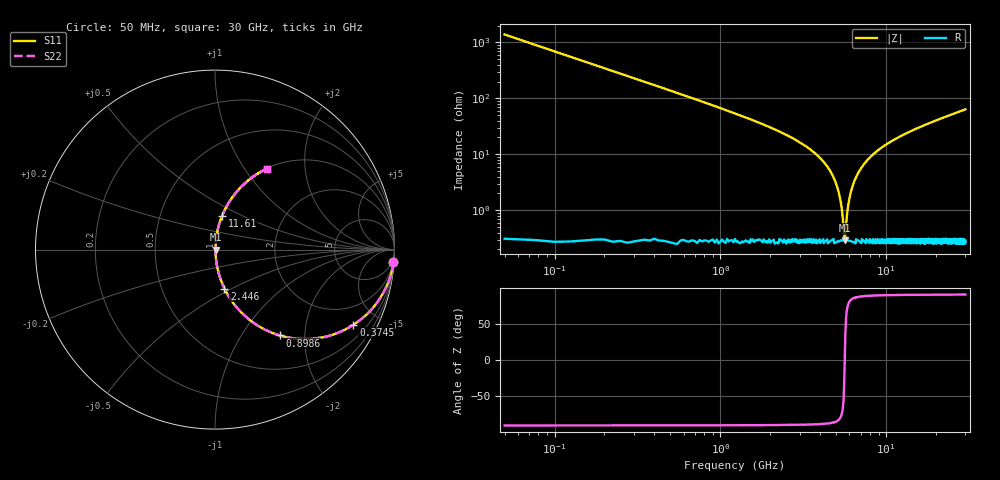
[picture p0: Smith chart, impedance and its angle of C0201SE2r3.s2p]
!	AVX Thin Film Operation 	Date: April 2014
!	Description: Accu-P® Series, Thin Film  SMD RF Capacitor
!	Part Number: 02013J2R3QBSTR
# MHZ S MA R 50
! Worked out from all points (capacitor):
!   1201 points, 50 MHz to 30 GHz, reference 50 ohm
!   read as one part in series: C = 2.3 pF near 199.8 MHz
!   lowest |Z| = 291 mohm at 5.616 GHz (marker M1)
!   series resonance near 5.619 GHz, so ESL is about 350 pH
!   S11 on the Smith chart (normalised r, x): 50 MHz: 1, -28; 374.5 MHz: 1.01, -3.68; 898.6 MHz: 1.01, -1.50; 2.446 GHz: 1.01, -0.46; 11.61 GHz: 1.01, +0.39; 30 GHz: 1.01, +1.27
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50  0.997 -4.1  0.072 85.9  0.072 85.9  0.997 -4.1
249.667  0.94 -19.9  0.34 70.1  0.34 70.1  0.94 -19.9
374.458  0.878 -28.5  0.477 61.4  0.477 61.4  0.878 -28.5
898.583  0.599 -53.0  0.798 36.8  0.798 36.8  0.599 -53.0
1497.583  0.394 -66.5  0.917 23.2  0.917 23.2  0.394 -66.5
2446  0.223 -76.4  0.972 12.9  0.972 12.9  0.223 -76.4
4143.167  0.076 -83.5  0.994 4.3  0.994 4.3  0.076 -83.5
5041.667  0.027 -82.5  0.997 1.5  0.997 1.5  0.027 -82.5
5266.292  0.016 -79.1  0.997 0.9  0.997 0.9  0.016 -79.1
5515.875  0.00535 -58.2  0.997 0.3  0.997 0.3  0.00535 -58.2
5615.708  0.002806 -3.1  0.997 0.0  0.997 0.0  0.002806 -3.1
5715.542  0.005029 55.9  0.997 -0.2  0.997 -0.2  0.005029 55.9
5915.208  0.013 76.8  0.997 -0.7  0.997 -0.7  0.013 76.8
6114.875  0.021 81.1  0.997 -1.2  0.997 -1.2  0.021 81.1
6813.708  0.048 83.9  0.996 -2.7  0.996 -2.7  0.048 83.9
8111.542  0.092 83.0  0.993 -5.3  0.993 -5.3  0.092 83.0
10058.29  0.15 80.3  0.986 -8.6  0.986 -8.6  0.15 80.3
11605.71  0.191 78.2  0.979 -11.0  0.979 -11.0  0.191 78.2
15025  0.272 73.7  0.96 -15.8  0.96 -15.8  0.272 73.7
20016.67  0.374 67.7  0.925 -21.9  0.925 -21.9  0.374 67.7
25033.29  0.461 62.2  0.885 -27.5  0.885 -27.5  0.461 62.2
30000  0.535 57.4  0.843 -32.3  0.843 -32.3  0.535 57.4
